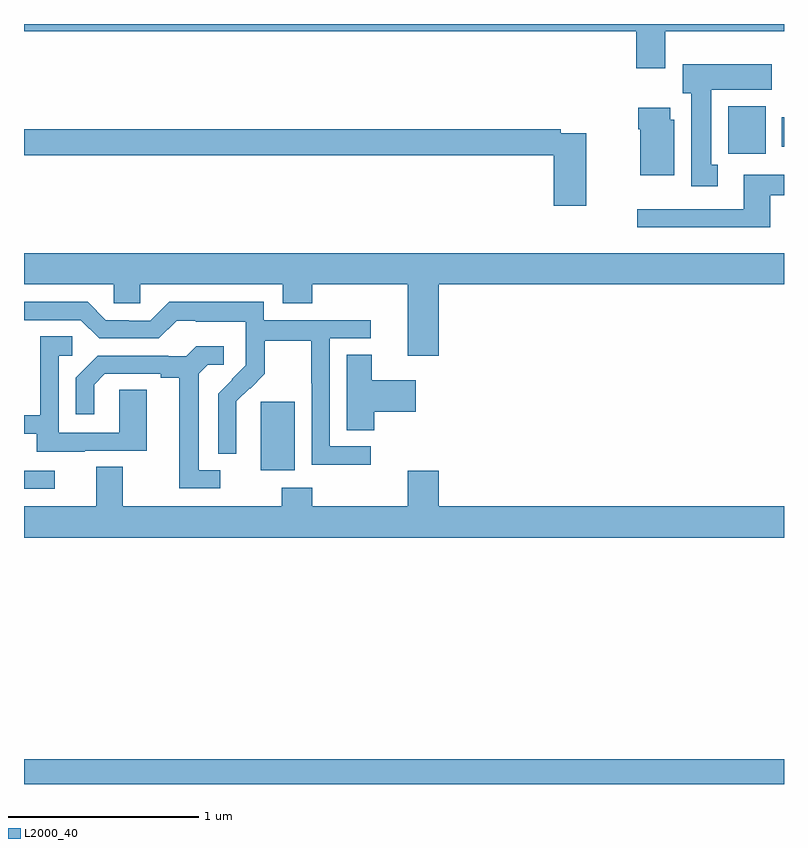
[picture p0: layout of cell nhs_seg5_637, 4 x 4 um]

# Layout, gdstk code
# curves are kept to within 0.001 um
import gdstk
lib = gdstk.Library(unit=1e-6, precision=1e-09)
def R(c, l, rs):  # rectangles x0, y0, x1, y1
    for r in rs: c.add(gdstk.rectangle(r[:2], r[2:], *l))
def P(c, l, *ps):  # polygons
    for p in ps: c.add(gdstk.Polygon(p, *l))
L2000_40 = (2000, 40)

nhs_seg5_637 = lib.new_cell('nhs_seg5_637')
R(nhs_seg5_637, L2000_40, [(151,852.799,155,852.928), (151,854.352,151.162,854.448), (152.246,854.45,152.425,854.811), (154.707,856.116,154.903,856.366), (154.988,856.152,155,856.308)])
P(nhs_seg5_637, L2000_40, [(154.375,856.76),(155,856.76),(155,856.799),(151,856.799),(151,856.76),(154.223,856.76),(154.223,856.566),(154.375,856.566)],
  [(154.651,856.057),(154.618,856.057),(154.618,856.454),(154.936,856.454),(154.936,856.588),(154.466,856.588),(154.466,856.434),(154.511,856.434),(154.511,855.945),(154.651,855.945)],
  [(154.423,856.296),(154.402,856.296),(154.402,856.357),(154.232,856.357),(154.232,856.244),(154.244,856.244),(154.244,856.004),(154.423,856.004)],
  [(153.958,856.224),(153.824,856.224),(153.824,856.244),(151,856.244),(151,856.108),(153.788,856.108),(153.788,855.843),(153.958,855.843)],
  [(154.927,855.897),(155,855.897),(155,856.006),(154.787,856.006),(154.787,855.825),(154.227,855.825),(154.227,855.728),(154.927,855.728)],
  [(153.184,855.428),(155,855.428),(155,855.592),(151,855.592),(151,855.428),(151.473,855.428),(151.473,855.33),(151.611,855.33),(151.611,855.428),(152.363,855.428),(152.363,855.329),(152.516,855.329),(152.516,855.428),(153.02,855.428),(153.02,855.054),(153.184,855.054)],
  [(152.824,854.577),(152.61,854.577),(152.61,855.144),(152.824,855.144),(152.824,855.24),(152.262,855.24),(152.262,855.337),(151.765,855.337),(151.665,855.237),(151.55,855.237),(151.55,855.24),(151.431,855.24),(151.335,855.336),(151,855.336),(151,855.24),(151.299,855.24),(151.395,855.144),(151.71,855.144),(151.803,855.237),(151.903,855.237),(151.903,855.233),(152.166,855.233),(152.166,855.099),(152.168,855.099),(152.168,855.002),(152.022,854.854),(152.022,854.536),(152.118,854.536),(152.117,854.813),(152.187,854.883),(152.19,854.88),(152.267,854.957),(152.267,855.132),(152.512,855.132),(152.512,854.908),(152.514,854.908),(152.514,854.479),(152.824,854.479)],
  [(151.321,854.553),(151.645,854.553),(151.645,854.873),(151.5,854.873),(151.5,854.649),(151.182,854.649),(151.182,855.054),(151.255,855.054),(151.255,855.155),(151.086,855.155),(151.086,854.739),(151,854.739),(151,854.643),(151.067,854.643),(151.067,854.549),(151.321,854.549)],
  [(152.032,854.451),(151.921,854.451),(151.921,854.959),(151.968,855.006),(152.05,855.006),(152.05,855.103),(151.906,855.103),(151.854,855.051),(151.76,855.051),(151.76,855.054),(151.388,855.054),(151.272,854.938),(151.272,854.745),(151.369,854.745),(151.369,854.901),(151.426,854.958),(151.721,854.958),(151.721,854.936),(151.817,854.936),(151.817,854.355),(152.032,854.355)],
  [(152.843,854.758),(153.061,854.758),(153.061,854.923),(152.83,854.923),(152.83,855.059),(152.699,855.059),(152.699,854.662),(152.843,854.662)],
  [(153.02,854.449),(153.02,854.26),(152.516,854.26),(152.516,854.359),(152.356,854.359),(152.356,854.26),(151.519,854.26),(151.519,854.468),(151.379,854.468),(151.379,854.26),(151,854.26),(151,854.096),(155,854.096),(155,854.26),(153.184,854.26),(153.184,854.449)])

lib.write_gds('nhs_seg5_637.gds')
